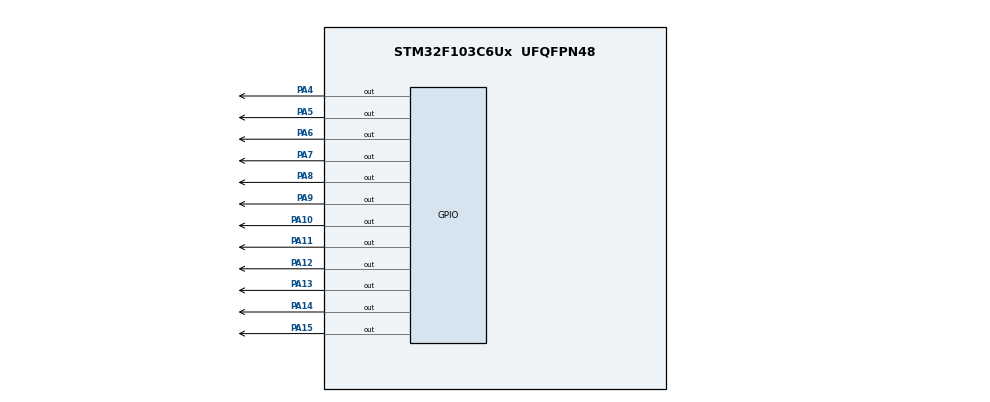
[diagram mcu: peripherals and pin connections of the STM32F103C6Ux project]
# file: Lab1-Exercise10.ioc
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Mcu.Family=STM32F1
Mcu.Name=STM32F103C6Ux
Mcu.Package=UFQFPN48
NVIC.PriorityGroup=NVIC_PRIORITYGROUP_4
PA10.Signal=GPIO_Output
PA11.Signal=GPIO_Output
PA12.Signal=GPIO_Output
PA13.Signal=GPIO_Output
PA14.Signal=GPIO_Output
PA15.Signal=GPIO_Output
PA4.Signal=GPIO_Output
PA5.Signal=GPIO_Output
PA6.Signal=GPIO_Output
PA7.Signal=GPIO_Output
PA8.Signal=GPIO_Output
PA9.Signal=GPIO_Output
ProjectManager.HeapSize=0x200
ProjectManager.StackSize=0x400
ProjectManager.TargetToolchain=STM32CubeIDE
RCC.APB1Freq_Value=8000000
RCC.APB2Freq_Value=8000000
VP_SYS_VS_ND.Mode=No_Debug
board=custom

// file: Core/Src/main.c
/* USER CODE BEGIN Header */
/**
  ******************************************************************************
  * @file           : main.c
  * @brief          : Main program body
  ******************************************************************************
  * @attention
  *
  * <h2><center>&copy; Copyright (c) 2022 STMicroelectronics.
  * All rights reserved.</center></h2>
  *
  * This software component is licensed by ST under BSD 3-Clause license,
  * the "License"; You may not use this file except in compliance with the
  * License. You may obtain a copy of the License at:
  *                        opensource.org/licenses/BSD-3-Clause
  *
  ******************************************************************************
  */
/* USER CODE END Header */
#include "main.h"

void SystemClock_Config(void);
static void MX_GPIO_Init(void);

/* USER CODE BEGIN 0 */
void clearAllClock(){
	  HAL_GPIO_WritePin(GPIOA, GPIO_PIN_4, RESET);
	  HAL_GPIO_WritePin(GPIOA, GPIO_PIN_5, RESET);
	  HAL_GPIO_WritePin(GPIOA, GPIO_PIN_6, RESET);
	  HAL_GPIO_WritePin(GPIOA, GPIO_PIN_7, RESET);
	  HAL_GPIO_WritePin(GPIOA, GPIO_PIN_8, RESET);
	  HAL_GPIO_WritePin(GPIOA, GPIO_PIN_9, RESET);
	  HAL_GPIO_WritePin(GPIOA, GPIO_PIN_10, RESET);
	  HAL_GPIO_WritePin(GPIOA, GPIO_PIN_11, RESET);
	  HAL_GPIO_WritePin(GPIOA, GPIO_PIN_12, RESET);
	  HAL_GPIO_WritePin(GPIOA, GPIO_PIN_13, RESET);
	  HAL_GPIO_WritePin(GPIOA, GPIO_PIN_14, RESET);
	  HAL_GPIO_WritePin(GPIOA, GPIO_PIN_15, RESET);
}
void setNumberOnClock(int num){
	switch (num) {
		case 0:
			HAL_GPIO_WritePin(GPIOA, GPIO_PIN_4, SET);
			break;
		case 1:
			HAL_GPIO_WritePin(GPIOA, GPIO_PIN_5, SET);
			break;
		case 2:
			HAL_GPIO_WritePin(GPIOA, GPIO_PIN_6, SET);
			break;
		case 3:
			HAL_GPIO_WritePin(GPIOA, GPIO_PIN_7, SET);
			break;
		case 4:
			HAL_GPIO_WritePin(GPIOA, GPIO_PIN_8, SET);
			break;
		case 5:
			HAL_GPIO_WritePin(GPIOA, GPIO_PIN_9, SET);
			break;
		case 6:
			HAL_GPIO_WritePin(GPIOA, GPIO_PIN_10, SET);
			break;
		case 7:
			HAL_GPIO_WritePin(GPIOA, GPIO_PIN_11, SET);
			break;
		case 8:
			HAL_GPIO_WritePin(GPIOA, GPIO_PIN_12, SET);
			break;
		case 9:
			HAL_GPIO_WritePin(GPIOA, GPIO_PIN_13, SET);
			break;
		case 10:
			HAL_GPIO_WritePin(GPIOA, GPIO_PIN_14, SET);
			break;
		case 11:
			HAL_GPIO_WritePin(GPIOA, GPIO_PIN_15, SET);
			break;
	}
}
void clearNumberOnClock(int num){
	switch (num) {
		case 0:
			HAL_GPIO_WritePin(GPIOA, GPIO_PIN_4, RESET);
			break;
		case 1:
			HAL_GPIO_WritePin(GPIOA, GPIO_PIN_5, RESET);
			break;
		case 2:
			HAL_GPIO_WritePin(GPIOA, GPIO_PIN_6, RESET);
			break;
		case 3:
			HAL_GPIO_WritePin(GPIOA, GPIO_PIN_7, RESET);
			break;
		case 4:
			HAL_GPIO_WritePin(GPIOA, GPIO_PIN_8, RESET);
			break;
		case 5:
			HAL_GPIO_WritePin(GPIOA, GPIO_PIN_9, RESET);
			break;
		case 6:
			HAL_GPIO_WritePin(GPIOA, GPIO_PIN_10, RESET);
			break;
		case 7:
			HAL_GPIO_WritePin(GPIOA, GPIO_PIN_11, RESET);
			break;
		case 8:
			HAL_GPIO_WritePin(GPIOA, GPIO_PIN_12, RESET);
			break;
		case 9:
			HAL_GPIO_WritePin(GPIOA, GPIO_PIN_13, RESET);
			break;
		case 10:
			HAL_GPIO_WritePin(GPIOA, GPIO_PIN_14, RESET);
			break;
		case 11:
			HAL_GPIO_WritePin(GPIOA, GPIO_PIN_15, RESET);
			break;
	}
}
/* USER CODE END 0 */

int main(void)
{

  /* MCU Configuration--------------------------------------------------------*/

  /* Reset of all peripherals, Initializes the Flash interface and the Systick. */
  HAL_Init();

  /* Configure the system clock */
  SystemClock_Config();

  /* Initialize all configured peripherals */
  MX_GPIO_Init();

  /* Infinite loop */
  /* USER CODE BEGIN WHILE */
  int hour = 11, minute = 11, second = 11;
  while (1)
  {
    /* USER CODE END WHILE */

    /* USER CODE BEGIN 3 */
	  second++;
	  if(second >= 12){
		  second = 0;
		  minute++;
	  }
	  if(minute >= 12){
		  minute=0;
		  hour++;
	  }
	  if(hour >= 12){
		  hour = 0;
	  }
	  setNumberOnClock(second);
	  setNumberOnClock(minute);
	  setNumberOnClock(hour);
	  HAL_Delay(1000);
	  clearNumberOnClock(second);
	  clearNumberOnClock(minute);
	  clearNumberOnClock(hour);
  }
  /* USER CODE END 3 */
}

void SystemClock_Config(void)
{
  RCC_OscInitTypeDef RCC_OscInitStruct = {0};
  RCC_ClkInitTypeDef RCC_ClkInitStruct = {0};

  /** Initializes the RCC Oscillators according to the specified parameters
  * in the RCC_OscInitTypeDef structure.
  */
  RCC_OscInitStruct.OscillatorType = RCC_OSCILLATORTYPE_HSI;
  RCC_OscInitStruct.HSIState = RCC_HSI_ON;
  RCC_OscInitStruct.HSICalibrationValue = RCC_HSICALIBRATION_DEFAULT;
  RCC_OscInitStruct.PLL.PLLState = RCC_PLL_NONE;
  if (HAL_RCC_OscConfig(&RCC_OscInitStruct) != HAL_OK)
  {
    Error_Handler();
  }
  /** Initializes the CPU, AHB and APB buses clocks
  */
  RCC_ClkInitStruct.ClockType = RCC_CLOCKTYPE_HCLK|RCC_CLOCKTYPE_SYSCLK
                              |RCC_CLOCKTYPE_PCLK1|RCC_CLOCKTYPE_PCLK2;
  RCC_ClkInitStruct.SYSCLKSource = RCC_SYSCLKSOURCE_HSI;
  RCC_ClkInitStruct.AHBCLKDivider = RCC_SYSCLK_DIV1;
  RCC_ClkInitStruct.APB1CLKDivider = RCC_HCLK_DIV1;
  RCC_ClkInitStruct.APB2CLKDivider = RCC_HCLK_DIV1;

  if (HAL_RCC_ClockConfig(&RCC_ClkInitStruct, FLASH_LATENCY_0) != HAL_OK)
  {
    Error_Handler();
  }
}

static void MX_GPIO_Init(void)
{
  GPIO_InitTypeDef GPIO_InitStruct = {0};

  /* GPIO Ports Clock Enable */
  __HAL_RCC_GPIOA_CLK_ENABLE();

  /*Configure GPIO pin Output Level */
  HAL_GPIO_WritePin(GPIOA, GPIO_PIN_4|GPIO_PIN_5|GPIO_PIN_6|GPIO_PIN_7
                          |GPIO_PIN_8|GPIO_PIN_9|GPIO_PIN_10|GPIO_PIN_11
                          |GPIO_PIN_12|GPIO_PIN_13|GPIO_PIN_14|GPIO_PIN_15, GPIO_PIN_RESET);

  /*Configure GPIO pins : PA4 PA5 PA6 PA7
                           PA8 PA9 PA10 PA11
                           PA12 PA13 PA14 PA15 */
  GPIO_InitStruct.Pin = GPIO_PIN_4|GPIO_PIN_5|GPIO_PIN_6|GPIO_PIN_7
                          |GPIO_PIN_8|GPIO_PIN_9|GPIO_PIN_10|GPIO_PIN_11
                          |GPIO_PIN_12|GPIO_PIN_13|GPIO_PIN_14|GPIO_PIN_15;
  GPIO_InitStruct.Mode = GPIO_MODE_OUTPUT_PP;
  GPIO_InitStruct.Pull = GPIO_NOPULL;
  GPIO_InitStruct.Speed = GPIO_SPEED_FREQ_LOW;
  HAL_GPIO_Init(GPIOA, &GPIO_InitStruct);

}

void Error_Handler(void)
{
  __disable_irq();
  while (1)
  {
  }
}

/************************ (C) COPYRIGHT STMicroelectronics *****END OF FILE****/
